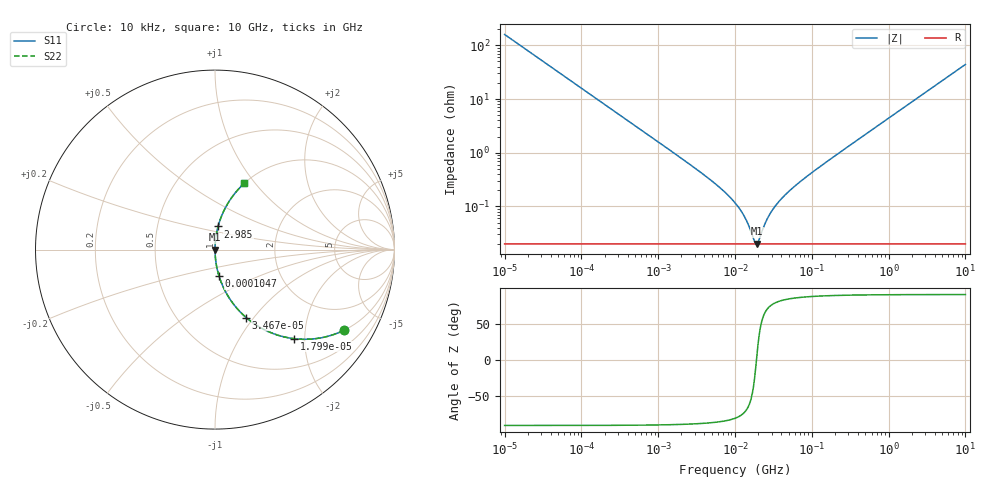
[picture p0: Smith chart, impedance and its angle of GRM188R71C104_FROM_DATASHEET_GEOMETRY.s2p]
! Touchstone 2-port S-parameters  (series-through model)
! Part: GRM188R71C104_FROM_DATASHEET_GEOMETRY
! Generated: 2026-06-14 19:33 UTC  by s2p tool
! Reference impedance: 50.0 Ohm
! ESL computed from case 0603: 0.700 nH; SRF computed = 19.02 MHz [GEOMETRY ESTIMATE]
! ESTIMATED / behavioral model - NOT manufacturer-measured data.
# Hz S RI R 50
! freq  ReS11  ImS11  ReS21  ImS21  ReS12  ImS12  ReS22  ImS22
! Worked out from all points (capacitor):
!   521 points, 10 kHz to 10 GHz, reference 50 ohm
!   read as one part in series: C = 100 nF near 10.72 kHz
!   lowest |Z| = 20.1 mohm at 19.28 MHz (marker M1)
!   series resonance near 19.03 MHz, so ESL is about 700 pH
!   S11 on the Smith chart (normalised r, x): 10 kHz: 1.00, -3.18; 17.99 kHz: 1.00, -1.77; 34.67 kHz: 1.00, -0.92; 104.7 kHz: 1.00, -0.30; 2.985 GHz: 1.00, +0.26; 10 GHz: 1.00, +0.88
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10000  0.7169 -0.4504  0.2831 0.4504  0.2831 0.4504  0.7169 -0.4504
17988.71  0.4391 -0.4962  0.5609 0.4962  0.5609 0.4962  0.4391 -0.4962
34673.69  0.1741 -0.379  0.8259 0.379  0.8259 0.379  0.1741 -0.379
56234.13  0.0743 -0.2619  0.9257 0.2619  0.9257 0.2619  0.0743 -0.2619
101157.9  0.0243 -0.1535  0.9757 0.1535  0.9757 0.1535  0.0243 -0.1535
104712.9  0.0228 -0.1485  0.9772 0.1485  0.9772 0.1485  0.0228 -0.1485
266072.5  0.00376 -0.0596  0.9962 0.0596  0.9962 0.0596  0.00376 -0.0596
1023293  0.00044 -0.0155  0.9996 0.0155  0.9996 0.0155  0.00044 -0.0155
5005404  0.000209 -0.00296  0.9998 0.00296  0.9998 0.00296  0.000209 -0.00296
1e7  0.000201 -0.00115  0.9998 0.00115  0.9998 0.00115  0.000201 -0.00115
1.317065e7  0.0002 -0.000629  0.9998 0.000629  0.9998 0.000629  0.0002 -0.000629
1.798871e7  0.0002 -9.35e-05  0.9998 9.35e-05  0.9998 9.35e-05  0.0002 -9.35e-05
1.927525e7  0.0002 2.21e-05  0.9998 -2.21e-05  0.9998 -2.21e-05  0.0002 2.21e-05
2.06538e7  0.0002 0.000138  0.9998 -0.000138  0.9998 -0.000138  0.0002 0.000138
2.542855e7  0.0002 0.000492  0.9998 -0.000492  0.9998 -0.000492  0.0002 0.000492
3.467369e7  0.000201 0.00107  0.9998 -0.00107  0.9998 -0.00107  0.000201 0.00107
4.909484e7  0.000203 0.00183  0.9998 -0.00183  0.9998 -0.00183  0.000203 0.00183
1.011579e8  0.000218 0.00429  0.9998 -0.00429  0.9998 -0.00429  0.000218 0.00429
1.023293e9  0.00222 0.0449  0.9978 -0.0449  0.9978 -0.0449  0.00222 0.0449
2.985383e9  0.0171 0.129  0.9829 -0.129  0.9829 -0.129  0.0171 0.129
5.754399e9  0.0604 0.2378  0.9396 -0.2378  0.9396 -0.2378  0.0604 0.2378
1e10  0.1622 0.3684  0.8378 -0.3684  0.8378 -0.3684  0.1622 0.3684
